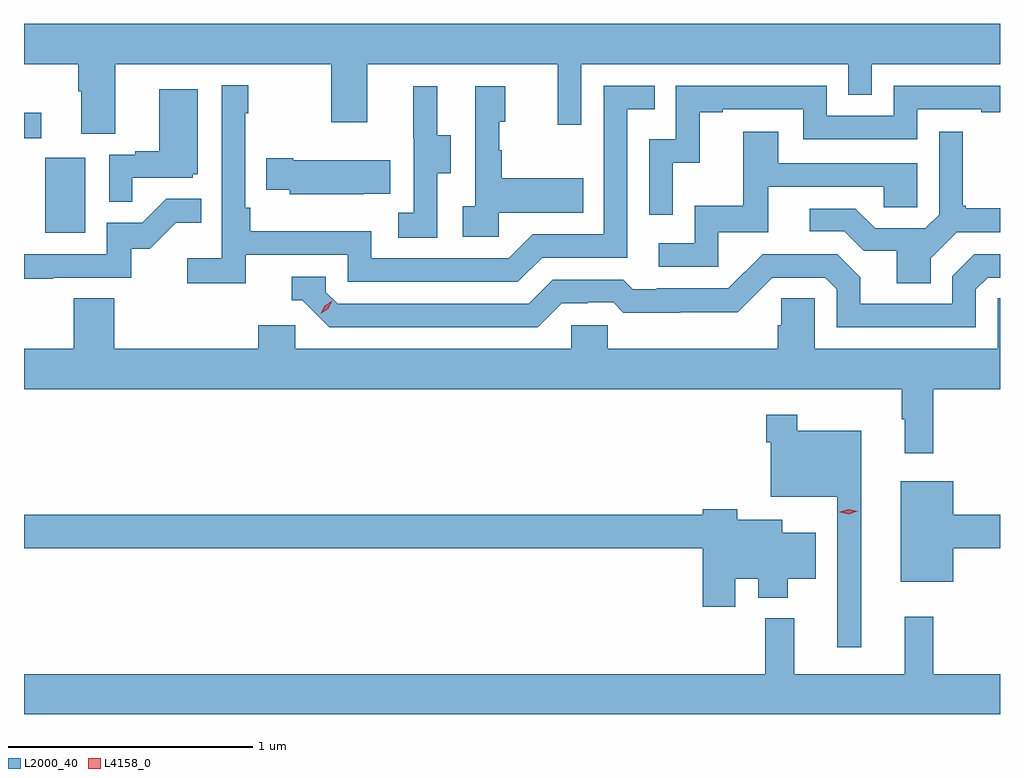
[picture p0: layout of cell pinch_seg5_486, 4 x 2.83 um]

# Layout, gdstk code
import gdstk
lib = gdstk.Library(unit=1e-6, precision=1e-09)
def R(c, l, rs):  # rectangles x0, y0, x1, y1
    for r in rs: c.add(gdstk.rectangle(r[:2], r[2:], *l))
def P(c, l, *ps):  # polygons
    for p in ps: c.add(gdstk.Polygon(p, *l))
L2000_40 = (2000, 40)
L4158_0 = (4158, 0)

pinch_seg5_486 = lib.new_cell('pinch_seg5_486')
R(pinch_seg5_486, L2000_40, [(910.574,853.404,910.738,853.711), (910.487,853.791,910.558,853.897)])
P(pinch_seg5_486, L2000_40, [(910.861,854.096),(911.746,854.096),(911.746,853.857),(911.893,853.857),(911.893,854.096),(912.674,854.096),(912.674,853.848),(912.771,853.848),(912.771,854.096),(913.866,854.096),(913.866,853.969),(913.962,853.969),(913.962,854.096),(914.487,854.096),(914.487,854.26),(910.487,854.26),(910.487,854.096),(910.709,854.096),(910.709,853.984),(910.721,853.984),(910.721,853.81),(910.861,853.81)],
  [(911.396,853.314),(911.814,853.314),(911.814,853.203),(912.511,853.203),(912.61,853.302),(912.96,853.302),(912.96,853.911),(913.073,853.911),(913.073,854.007),(912.864,854.007),(912.864,853.398),(912.573,853.398),(912.474,853.299),(911.91,853.299),(911.91,853.411),(911.414,853.411),(911.414,853.507),(911.394,853.507),(911.394,853.895),(911.407,853.895),(911.407,854.008),(911.298,854.008),(911.298,853.3),(911.157,853.3),(911.157,853.198),(911.396,853.198)],
  [(913.146,853.691),(913.256,853.691),(913.256,853.899),(913.351,853.899),(913.351,853.911),(913.68,853.911),(913.68,853.788),(914.148,853.788),(914.148,853.911),(914.411,853.911),(914.411,853.899),(914.487,853.899),(914.487,854.007),(914.052,854.007),(914.052,853.884),(913.776,853.884),(913.776,854.007),(913.158,854.007),(913.158,853.788),(913.05,853.788),(913.05,853.479),(913.146,853.479)],
  [(912.432,853.487),(912.779,853.487),(912.779,853.627),(912.445,853.627),(912.445,853.742),(912.435,853.742),(912.435,853.86),(912.46,853.86),(912.46,854.005),(912.336,854.005),(912.336,853.514),(912.285,853.514),(912.285,853.389),(912.432,853.389)],
  [(912.18,853.648),(912.235,853.648),(912.235,853.803),(912.181,853.803),(912.181,854.005),(912.083,854.005),(912.083,853.791),(912.084,853.791),(912.084,853.487),(912.021,853.487),(912.021,853.384),(912.18,853.384)],
  [(910.931,853.629),(911.178,853.629),(911.178,853.644),(911.2,853.644),(911.2,853.993),(911.042,853.993),(911.042,853.738),(910.943,853.738),(910.943,853.725),(910.836,853.725),(910.836,853.531),(910.931,853.531)],
  [(914.203,853.3),(914.31,853.407),(914.487,853.407),(914.487,853.504),(914.347,853.504),(914.347,853.516),(914.335,853.516),(914.335,853.819),(914.238,853.819),(914.238,853.479),(914.181,853.422),(913.975,853.422),(913.894,853.503),(913.707,853.503),(913.707,853.41),(913.848,853.41),(913.928,853.33),(914.063,853.33),(914.063,853.198),(914.203,853.198)],
  [(913.332,853.407),(913.537,853.407),(913.537,853.593),(914.011,853.593),(914.011,853.509),(914.148,853.509),(914.148,853.689),(913.579,853.689),(913.579,853.819),(913.435,853.819),(913.435,853.516),(913.236,853.516),(913.236,853.362),(913.089,853.362),(913.089,853.266),(913.332,853.266)],
  [(911.879,853.565),(911.987,853.565),(911.987,853.702),(911.59,853.702),(911.59,853.71),(911.479,853.71),(911.479,853.58),(911.577,853.58),(911.577,853.562),(911.879,853.562)],
  [(910.607,853.221),(910.926,853.221),(910.926,853.338),(911.002,853.338),(911.109,853.445),(911.213,853.445),(911.213,853.544),(911.069,853.544),(910.971,853.446),(910.827,853.446),(910.827,853.317),(910.487,853.317),(910.487,853.216),(910.607,853.216)],
  [(912.691,853.116),(912.798,853.116),(912.798,853.119),(912.901,853.119),(912.943,853.077),(913.176,853.077),(913.176,853.079),(913.412,853.079),(913.554,853.221),(913.77,853.221),(913.818,853.173),(913.818,853.017),(914.388,853.017),(914.388,853.173),(914.436,853.221),(914.487,853.221),(914.487,853.317),(914.382,853.317),(914.292,853.227),(914.292,853.113),(913.915,853.113),(913.915,853.223),(913.821,853.317),(913.515,853.317),(913.374,853.176),(913.081,853.176),(913.081,853.173),(912.982,853.173),(912.943,853.212),(912.654,853.212),(912.555,853.113),(911.772,853.113),(911.724,853.161),(911.724,853.224),(911.585,853.224),(911.585,853.128),(911.628,853.128),(911.739,853.017),(912.592,853.017)],
  [(912.729,853.026),(912.729,852.928),(911.598,852.928),(911.598,853.026),(911.447,853.026),(911.447,852.928),(910.856,852.928),(910.856,853.136),(910.691,853.136),(910.691,852.928),(910.487,852.928),(910.487,852.764),(914.085,852.764),(914.085,852.641),(914.096,852.641),(914.096,852.501),(914.213,852.501),(914.213,852.764),(914.487,852.764),(914.487,853.136),(914.478,853.136),(914.478,852.928),(913.728,852.928),(913.728,853.136),(913.591,853.136),(913.591,853.026),(913.577,853.026),(913.577,852.928),(912.879,852.928),(912.879,853.026)],
  [(913.918,852.592),(913.657,852.592),(913.657,852.658),(913.528,852.658),(913.528,852.545),(913.548,852.545),(913.548,852.323),(913.821,852.323),(913.821,851.706),(913.918,851.706)],
  [(914.296,852.112),(914.487,852.112),(914.487,852.248),(914.296,852.248),(914.296,852.385),(914.081,852.385),(914.081,851.975),(914.296,851.975)],
  [(913.402,851.987),(913.496,851.987),(913.496,851.909),(913.618,851.909),(913.618,851.987),(913.732,851.987),(913.732,852.175),(913.594,852.175),(913.594,852.229),(913.41,852.229),(913.41,852.272),(913.268,852.272),(913.268,852.248),(910.487,852.248),(910.487,852.112),(913.268,852.112),(913.268,851.871),(913.402,851.871)],
  [(914.487,851.596),(914.213,851.596),(914.213,851.83),(914.096,851.83),(914.096,851.596),(913.643,851.596),(913.643,851.824),(913.525,851.824),(913.525,851.596),(910.487,851.596),(910.487,851.432),(914.487,851.432)])
P(pinch_seg5_486, L4158_0, [(913.867,852.251),(913.831,852.259),(913.831,852.26),(913.831,852.26),(913.867,852.271),(913.902,852.263),(913.903,852.262),(913.902,852.262)],
  [(911.703,853.073),(911.703,853.073),(911.719,853.106),(911.75,853.125),(911.75,853.125),(911.75,853.125),(911.734,853.092),(911.704,853.073)])

lib.write_gds('pinch_seg5_486.gds')
